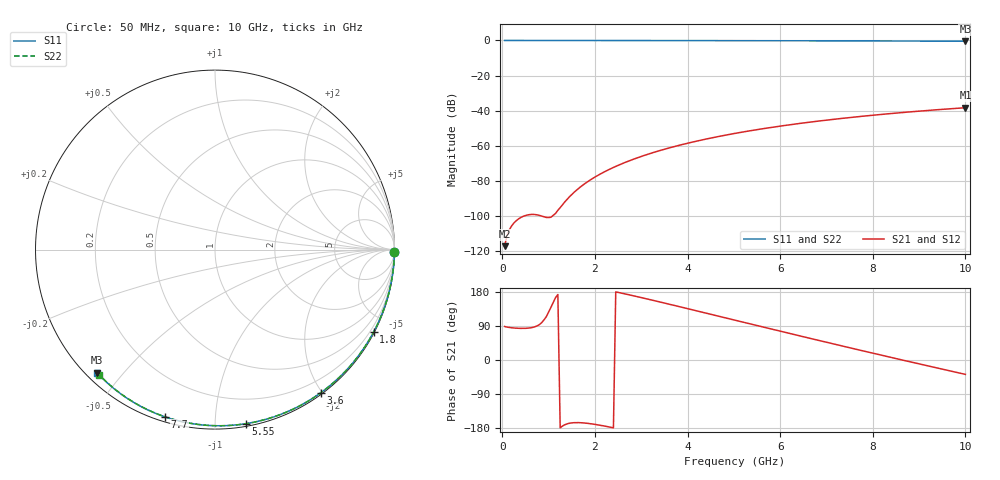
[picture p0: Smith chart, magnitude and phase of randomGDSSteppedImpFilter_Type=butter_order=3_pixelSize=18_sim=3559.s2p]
! freq	dB(S11)	phase(S11)	dB(S12)	phase(S12)
!  dB(S21)	phase(S21)	dB(S22)	phase(S22)
!S-par simulation data
#  GHz  S  DB  R 50
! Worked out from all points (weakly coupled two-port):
!   200 points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, 50 MHz to 10 GHz, reference 50 ohm
!   highest |S21| = -38.33 dB at 10 GHz (marker M1); lowest = -117.2 dB at 50 MHz (marker M2)
!   lowest |S11| = -0.4 dB at 10 GHz (marker M3), VSWR 38.90, Z = 1.52 - j21.3 ohm
!   |S11| at or under -10 dB: nowhere
!   |S22| runs from -0.4 to 0.0 dB; largest |S21 - S12| = 0
!   S11 on the Smith chart (normalised r, x): 50 MHz: open; 1.8 GHz: 0.04, -4.11; 3.6 GHz: 0.02, -1.98; 5.55 GHz: 0.02, -1.19; 7.7 GHz: 0.02, -0.74; 10 GHz: 0.03, -0.43
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0.05  -0.00 -0.8  -117.24 88.4  -117.24 88.4  -0.00 -0.8
0.9  -0.02 -13.8  -100.52 105.7  -100.52 105.7  -0.02 -13.7
1.75  -0.03 -26.6  -82.22 -166.0  -82.22 -166.0  -0.03 -26.4
1.8  -0.03 -27.4  -81.27 -166.6  -81.27 -166.6  -0.03 -27.2
1.85  -0.04 -28.1  -80.36 -167.3  -80.36 -167.3  -0.04 -27.9
1.9  -0.04 -28.8  -79.50 -168.1  -79.50 -168.1  -0.04 -28.7
2.05  -0.04 -31.1  -77.09 -170.9  -77.09 -170.9  -0.04 -30.9
2.25  -0.04 -34.0  -74.26 -175.3  -74.26 -175.3  -0.04 -33.8
2.45  -0.05 -37.0  -71.77 179.7  -71.77 179.7  -0.05 -36.7
2.65  -0.05 -39.9  -69.53 174.4  -69.53 174.4  -0.05 -39.6
3  -0.06 -44.9  -66.11 164.7  -66.11 164.7  -0.06 -44.7
3.4  -0.07 -50.7  -62.76 153.2  -62.76 153.2  -0.07 -50.3
3.6  -0.07 -53.5  -61.27 147.4  -61.27 147.4  -0.07 -53.2
4.3  -0.09 -63.2  -56.76 126.7  -56.76 126.7  -0.09 -62.8
5.05  -0.11 -73.3  -52.84 104.3  -52.84 104.3  -0.11 -72.9
5.55  -0.13 -79.9  -50.61 89.4  -50.61 89.4  -0.13 -79.4
6.1  -0.15 -87.0  -48.45 73.2  -48.45 73.2  -0.15 -86.4
6.7  -0.18 -94.5  -46.36 55.6  -46.36 55.6  -0.18 -93.9
7.7  -0.24 -106.7  -43.40 26.6  -43.40 26.6  -0.24 -106.0
8.35  -0.29 -114.5  -41.75 8.1  -41.75 8.1  -0.29 -113.7
9.15  -0.36 -123.9  -39.97 -14.4  -39.97 -14.4  -0.36 -122.9
10  -0.45 -133.8  -38.33 -37.9  -38.33 -37.9  -0.45 -132.7
